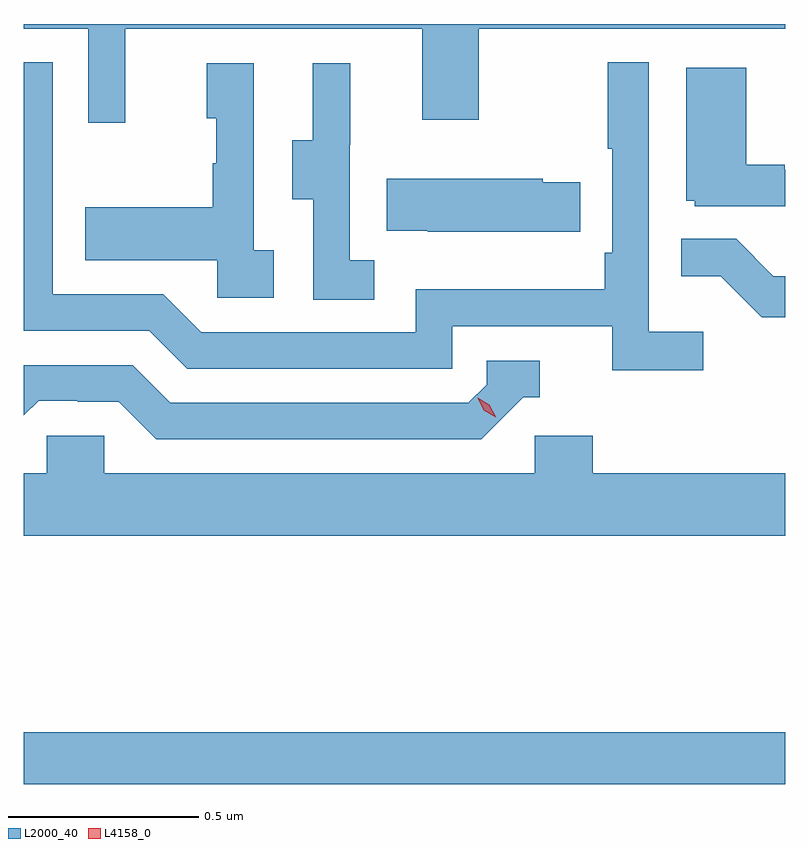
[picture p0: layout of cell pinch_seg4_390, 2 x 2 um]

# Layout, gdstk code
import gdstk
lib = gdstk.Library(unit=1e-6, precision=1e-09)
def R(c, l, rs):  # rectangles x0, y0, x1, y1
    for r in rs: c.add(gdstk.rectangle(r[:2], r[2:], *l))
def P(c, l, *ps):  # polygons
    for p in ps: c.add(gdstk.Polygon(p, *l))
L2000_40 = (2000, 40)
L4158_0 = (4158, 0)

pinch_seg4_390 = lib.new_cell('pinch_seg4_390')
R(pinch_seg4_390, L2000_40, [(988.778,777.52,990.778,777.656)])
P(pinch_seg4_390, L2000_40, [(989.045,779.504),(989.825,779.504),(989.825,779.265),(989.973,779.265),(989.973,779.504),(990.778,779.504),(990.778,779.516),(988.778,779.516),(988.778,779.504),(988.947,779.504),(988.947,779.256),(989.045,779.256)],
  [(990.562,778.708),(990.42,778.708),(990.42,779.416),(990.312,779.416),(990.312,779.188),(990.324,779.188),(990.324,778.915),(990.304,778.915),(990.304,778.819),(989.808,778.819),(989.808,778.707),(989.244,778.707),(989.145,778.806),(988.854,778.806),(988.854,779.415),(988.778,779.415),(988.778,778.71),(989.108,778.71),(989.207,778.611),(989.904,778.611),(989.904,778.722),(990.323,778.722),(990.323,778.606),(990.562,778.606)],
  [(989.698,778.895),(989.634,778.895),(989.634,779.199),(989.636,779.199),(989.636,779.413),(989.537,779.413),(989.537,779.211),(989.483,779.211),(989.483,779.056),(989.538,779.056),(989.538,778.792),(989.698,778.792)],
  [(989.434,778.922),(989.382,778.922),(989.382,779.413),(989.258,779.413),(989.258,779.268),(989.284,779.268),(989.284,779.15),(989.274,779.15),(989.274,779.035),(988.939,779.035),(988.939,778.895),(989.286,778.895),(989.286,778.797),(989.434,778.797)],
  [(990.778,779.133),(990.776,779.133),(990.776,779.146),(990.676,779.146),(990.676,779.401),(990.518,779.401),(990.518,779.052),(990.54,779.052),(990.54,779.037),(990.778,779.037)],
  [(990.239,779.1),(990.141,779.1),(990.141,779.11),(989.731,779.11),(989.731,778.973),(989.839,778.973),(989.839,778.97),(990.239,778.97)],
  [(990.778,778.854),(990.747,778.854),(990.649,778.952),(990.505,778.952),(990.505,778.853),(990.609,778.853),(990.716,778.746),(990.778,778.746)],
  [(990.09,778.536),(990.133,778.536),(990.133,778.632),(989.994,778.632),(989.994,778.569),(989.946,778.521),(989.163,778.521),(989.064,778.62),(988.778,778.62),(988.778,778.488),(988.817,778.527),(988.92,778.527),(988.92,778.524),(989.027,778.524),(989.126,778.425),(989.979,778.425)],
  [(990.778,778.336),(990.272,778.336),(990.272,778.434),(990.12,778.434),(990.12,778.336),(988.989,778.336),(988.989,778.434),(988.839,778.434),(988.839,778.336),(988.778,778.336),(988.778,778.172),(990.778,778.172)])
P(pinch_seg4_390, L4158_0, [(990.017,778.483),(989.986,778.502),(989.97,778.535),(989.97,778.535),(989.97,778.535),(990.001,778.516),(990.018,778.484),(990.018,778.483)])

lib.write_gds('pinch_seg4_390.gds')
